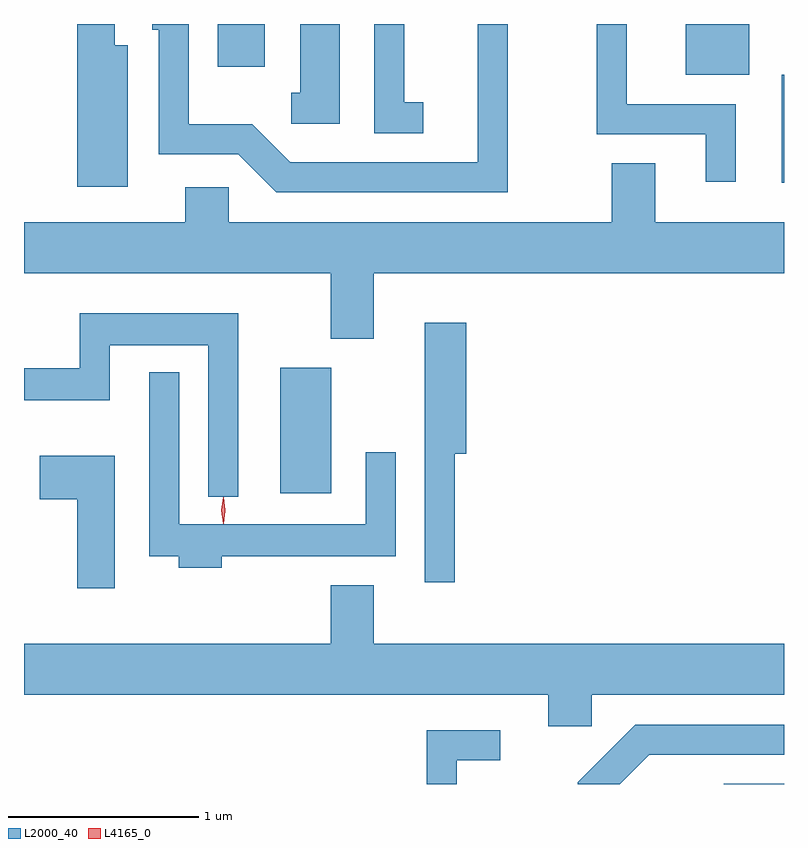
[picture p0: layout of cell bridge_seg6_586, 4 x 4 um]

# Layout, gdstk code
import gdstk
lib = gdstk.Library(unit=1e-6, precision=1e-09)
def R(c, l, rs):  # rectangles x0, y0, x1, y1
    for r in rs: c.add(gdstk.rectangle(r[:2], r[2:], *l))
def P(c, l, *ps):  # polygons
    for p in ps: c.add(gdstk.Polygon(p, *l))
L2000_40 = (2000, 40)
L4165_0 = (4165, 0)

bridge_seg6_586 = lib.new_cell('bridge_seg6_586')
R(bridge_seg6_586, L2000_40, [(547.261,1605.067,547.577,1605.069), (544.926,1606.596,545.194,1607.259), (547.566,1608.231,547.577,1608.799), (547.061,1608.801,547.394,1609.067), (544.596,1608.841,544.844,1609.067)])
P(bridge_seg6_586, L2000_40, [(546.124,1609.067),(545.966,1609.067),(545.966,1608.339),(544.977,1608.339),(544.777,1608.539),(544.444,1608.539),(544.444,1609.067),(544.251,1609.067),(544.251,1609.036),(544.286,1609.036),(544.286,1608.381),(544.704,1608.381),(544.904,1608.181),(546.124,1608.181)],
  [(545.678,1608.654),(545.579,1608.654),(545.579,1609.067),(545.421,1609.067),(545.421,1608.491),(545.678,1608.491)],
  [(547.324,1608.644),(546.749,1608.644),(546.749,1609.067),(546.591,1609.067),(546.591,1608.486),(547.166,1608.486),(547.166,1608.238),(547.324,1608.238)],
  [(544.124,1608.954),(544.054,1608.954),(544.054,1609.067),(543.856,1609.067),(543.856,1608.211),(544.124,1608.211)],
  [(545.239,1609.067),(545.031,1609.067),(545.031,1608.704),(544.983,1608.704),(544.983,1608.541),(545.239,1608.541)],
  [(545.419,1607.756),(547.577,1607.756),(547.577,1608.024),(546.899,1608.024),(546.899,1608.334),(546.671,1608.334),(546.671,1608.024),(544.654,1608.024),(544.654,1608.209),(544.426,1608.209),(544.426,1608.024),(543.577,1608.024),(543.577,1607.756),(545.191,1607.756),(545.191,1607.411),(545.419,1607.411)],
  [(544.704,1607.544),(543.871,1607.544),(543.871,1607.254),(543.577,1607.254),(543.577,1607.086),(544.029,1607.086),(544.029,1607.376),(544.546,1607.376),(544.546,1606.578),(544.704,1606.578)],
  [(545.844,1606.806),(545.904,1606.806),(545.904,1607.494),(545.686,1607.494),(545.686,1606.128),(545.844,1606.128)],
  [(544.619,1606.266),(545.534,1606.266),(545.534,1606.813),(545.376,1606.813),(545.376,1606.434),(544.394,1606.434),(544.394,1607.233),(544.236,1607.233),(544.236,1606.266),(544.391,1606.266),(544.391,1606.206),(544.619,1606.206)],
  [(544.054,1606.794),(543.661,1606.794),(543.661,1606.566),(543.856,1606.566),(543.856,1606.096),(544.054,1606.096)],
  [(546.564,1605.536),(547.577,1605.536),(547.577,1605.804),(545.419,1605.804),(545.419,1606.114),(545.191,1606.114),(545.191,1605.804),(543.577,1605.804),(543.577,1605.536),(546.336,1605.536),(546.336,1605.371),(546.564,1605.371)],
  [(546.867,1605.221),(547.577,1605.221),(547.577,1605.379),(546.794,1605.379),(546.491,1605.077),(546.491,1605.067),(546.712,1605.067)],
  [(545.854,1605.191),(546.083,1605.191),(546.083,1605.349),(545.696,1605.349),(545.696,1605.067),(545.854,1605.067)])
P(bridge_seg6_586, L4165_0, [(544.628,1606.439),(544.627,1606.44),(544.618,1606.506),(544.627,1606.572),(544.627,1606.573),(544.628,1606.572),(544.637,1606.506),(544.628,1606.44)],
  [(544.626,1606.437),(544.626,1606.437),(544.616,1606.507),(544.626,1606.576),(544.626,1606.576),(544.627,1606.576),(544.636,1606.507),(544.627,1606.437)])

lib.write_gds('bridge_seg6_586.gds')
